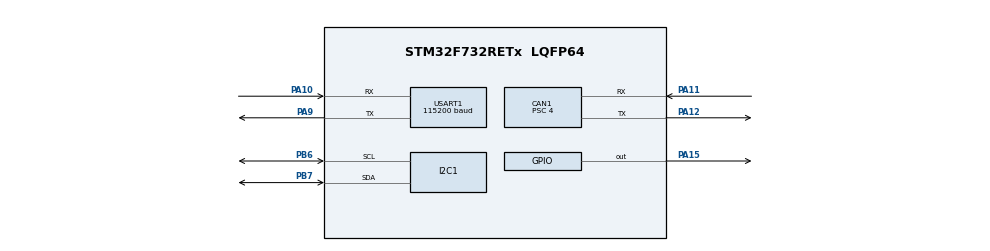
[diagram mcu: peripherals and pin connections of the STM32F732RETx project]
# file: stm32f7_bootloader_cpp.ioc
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CAN1.BS1=CAN_BS1_6TQ
CAN1.CalculateTimeBit=3000
CAN1.CalculateTimeQuantum=250.0
CAN1.Prescaler=4
CAN1.TimeSeg1=CAN_BS1_6TQ
Mcu.Family=STM32F7
Mcu.Name=STM32F732RETx
Mcu.Package=LQFP64
NVIC.CAN1_RX0_IRQn=true\:0\:0\:true\:false\:true\:true
NVIC.CAN1_RX1_IRQn=true\:0\:0\:false\:false\:true\:true
NVIC.CAN1_SCE_IRQn=true\:0\:0\:false\:false\:true\:true
NVIC.CAN1_TX_IRQn=true\:0\:0\:false\:false\:true\:true
NVIC.PriorityGroup=NVIC_PRIORITYGROUP_1
NVIC.USART1_IRQn=true\:0\:0\:true\:false\:true\:true
PA10.Mode=Asynchronous
PA10.Signal=USART1_RX
PA11.Mode=Master
PA11.Signal=CAN1_RX
PA12.Mode=Master
PA12.Signal=CAN1_TX
PA13.Mode=Serial_Wire
PA13.Signal=SYS_JTMS-SWDIO
PA14.Mode=Serial_Wire
PA14.Signal=SYS_JTCK-SWCLK
PA15.Signal=GPIO_Output
PA9.Mode=Asynchronous
PA9.Signal=USART1_TX
PB6.Mode=I2C
PB6.Signal=I2C1_SCL
PB7.Mode=I2C
PB7.Signal=I2C1_SDA
ProjectManager.HeapSize=0x200
ProjectManager.StackSize=0x400
ProjectManager.TargetToolchain=TrueSTUDIO
RCC.HSE_VALUE=25000000
RCC.HSI_VALUE=16000000
RCC.LSE_VALUE=32768
RCC.USBFreq_Value=96000000
RCC.VCOOutputFreq_Value=192000000
USART1.BaudRate=115200
USART1.OneBitSampling=UART_ONE_BIT_SAMPLE_ENABLE
USART1.SwapParam=ADVFEATURE_SWAP_ENABLE
USART1.VirtualMode-Asynchronous=VM_ASYNC
USART1.WordLength=WORDLENGTH_8B
board=stm32f7_bootloader_cpp

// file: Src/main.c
/**
  ******************************************************************************
  * @file           : main.c
  * @brief          : Main program body
  ******************************************************************************
  ** This notice applies to any and all portions of this file
  * that are not between comment pairs USER CODE BEGIN and
  * USER CODE END. Other portions of this file, whether
  * inserted by the user or by software development tools
  * are owned by their respective copyright owners.
  *
  * COPYRIGHT(c) 2018 STMicroelectronics
  *
  * Redistribution and use in source and binary forms, with or without modification,
  * are permitted provided that the following conditions are met:
  *   1. Redistributions of source code must retain the above copyright notice,
  *      this list of conditions and the following disclaimer.
  *   2. Redistributions in binary form must reproduce the above copyright notice,
  *      this list of conditions and the following disclaimer in the documentation
  *      and/or other materials provided with the distribution.
  *   3. Neither the name of STMicroelectronics nor the names of its contributors
  *      may be used to endorse or promote products derived from this software
  *      without specific prior written permission.
  *
  * THIS SOFTWARE IS PROVIDED BY THE COPYRIGHT HOLDERS AND CONTRIBUTORS "AS IS"
  * AND ANY EXPRESS OR IMPLIED WARRANTIES, INCLUDING, BUT NOT LIMITED TO, THE
  * IMPLIED WARRANTIES OF MERCHANTABILITY AND FITNESS FOR A PARTICULAR PURPOSE ARE
  * DISCLAIMED. IN NO EVENT SHALL THE COPYRIGHT HOLDER OR CONTRIBUTORS BE LIABLE
  * FOR ANY DIRECT, INDIRECT, INCIDENTAL, SPECIAL, EXEMPLARY, OR CONSEQUENTIAL
  * DAMAGES (INCLUDING, BUT NOT LIMITED TO, PROCUREMENT OF SUBSTITUTE GOODS OR
  * SERVICES; LOSS OF USE, DATA, OR PROFITS; OR BUSINESS INTERRUPTION) HOWEVER
  * CAUSED AND ON ANY THEORY OF LIABILITY, WHETHER IN CONTRACT, STRICT LIABILITY,
  * OR TORT (INCLUDING NEGLIGENCE OR OTHERWISE) ARISING IN ANY WAY OUT OF THE USE
  * OF THIS SOFTWARE, EVEN IF ADVISED OF THE POSSIBILITY OF SUCH DAMAGE.
  *
  ******************************************************************************
  */
#include "main.h"
#include "stm32f7xx_hal.h"
#include "can.h"
#include "i2c.h"
#include "usart.h"
#include "gpio.h"

/* USER CODE BEGIN PV */
/* Private variables ---------------------------------------------------------*/
int FWToolconnected = 0;

/* USER CODE END PV */

typedef void (*pFunction)(void);
void SystemClock_Config(void);

/* USER CODE BEGIN PFP */
/* Private function prototypes -----------------------------------------------*/

/* USER CODE END PFP */

int main(void)
{

  /* MCU Configuration----------------------------------------------------------*/

  /* Reset of all peripherals, Initializes the Flash interface and the Systick. */
  HAL_Init();

  /* Configure the system clock */
  SystemClock_Config();

  /* Initialize all configured peripherals */
  MX_GPIO_Init();
  MX_CAN1_Init();
  MX_I2C1_Init();
  MX_USART1_UART_Init();
  /* USER CODE BEGIN 2 */

  CAN_TxHeaderTypeDef pTxHeader; //outgoing msg header
	  pTxHeader.DLC = 8;
	  pTxHeader.ExtId = 0;
	  pTxHeader.IDE = CAN_ID_STD;
	  pTxHeader.RTR = CAN_RTR_DATA;
	  pTxHeader.StdId = 123;
	  pTxHeader.TransmitGlobalTime = DISABLE;
  uint32_t pTxMailbox;

  CAN_FilterTypeDef canFilter; // PEAB olema enablitud et RX töötaks!
  	  canFilter.FilterIdHigh = 0x0000;
	  canFilter.FilterIdLow = 0x0000;
	  canFilter.FilterMaskIdHigh = 0x0000;
	  canFilter.FilterMaskIdLow = 0x0000;
  	  canFilter.FilterFIFOAssignment = CAN_RX_FIFO0;
  	  canFilter.FilterActivation = ENABLE;
  	  canFilter.FilterBank = 13;
  	  canFilter.FilterMode = CAN_FILTERMODE_IDMASK;
  	  canFilter.FilterScale = CAN_FILTERSCALE_32BIT;
  HAL_CAN_ConfigFilter(&hcan1, &canFilter);

  HAL_CAN_Start(&hcan1);
  HAL_CAN_ActivateNotification(&hcan1, CAN_IT_RX_FIFO0_MSG_PENDING);
  HAL_CAN_ActivateNotification(&hcan1, CAN_IT_ERROR );
  HAL_CAN_ActivateNotification(&hcan1, CAN_IT_RX_FIFO0_FULL);

  Serial_PutString("Init all done!\n");
  HAL_Delay(100);

  /* USER CODE END 2 */

  /* Infinite loop */
  /* USER CODE BEGIN WHILE */
  int counter = 1;
  while (1)
  {

  /* USER CODE END WHILE */

  /* USER CODE BEGIN 3 */
	  HAL_GPIO_TogglePin(GPIOA, GPIO_PIN_15);

	  uint8_t aData[] = {1,2,3,4,5,6,7,8};

	  if(HAL_CAN_AddTxMessage(&hcan1, &pTxHeader, aData, &pTxMailbox)==HAL_OK) Serial_PutString("hal saadetud  ok\n");

	  //if((FWToolconnected==0) & (counter == 5)) startApp();
//	  uint8_t inData[8];
//	  if(HAL_CAN_GetRxFifoFillLevel(&hcan1, CAN_RX_FIFO0)>0){
//		  HAL_CAN_GetRxMessage(&hcan1, CAN_RX_FIFO0, &pRxHeader, inData);
//		  Serial_PutInt(inData);
//		  HAL_GPIO_WritePin(GPIOA, GPIO_PIN_15, GPIO_PIN_SET);
//	  }
//	  if(HAL_CAN_GetRxFifoFillLevel(&hcan1, CAN_RX_FIFO1)>0){
//	 		  HAL_CAN_GetRxMessage(&hcan1, CAN_RX_FIFO1, &pRxHeader, inData);
//	 		  Serial_PutInt(inData);
//	 		  HAL_GPIO_WritePin(GPIOA, GPIO_PIN_15, GPIO_PIN_SET);
//	 	  }
	  HAL_Delay(500);
	  counter++;

  }
  /* USER CODE END 3 */

}

void SystemClock_Config(void)
{

  RCC_OscInitTypeDef RCC_OscInitStruct;
  RCC_ClkInitTypeDef RCC_ClkInitStruct;
  RCC_PeriphCLKInitTypeDef PeriphClkInitStruct;

    /**Configure the main internal regulator output voltage
    */
  __HAL_RCC_PWR_CLK_ENABLE();

  __HAL_PWR_VOLTAGESCALING_CONFIG(PWR_REGULATOR_VOLTAGE_SCALE3);

    /**Initializes the CPU, AHB and APB busses clocks
    */
  RCC_OscInitStruct.OscillatorType = RCC_OSCILLATORTYPE_HSI;
  RCC_OscInitStruct.HSIState = RCC_HSI_ON;
  RCC_OscInitStruct.HSICalibrationValue = 16;
  RCC_OscInitStruct.PLL.PLLState = RCC_PLL_NONE;
  if (HAL_RCC_OscConfig(&RCC_OscInitStruct) != HAL_OK)
  {
    _Error_Handler(__FILE__, __LINE__);
  }

    /**Initializes the CPU, AHB and APB busses clocks
    */
  RCC_ClkInitStruct.ClockType = RCC_CLOCKTYPE_HCLK|RCC_CLOCKTYPE_SYSCLK
                              |RCC_CLOCKTYPE_PCLK1|RCC_CLOCKTYPE_PCLK2;
  RCC_ClkInitStruct.SYSCLKSource = RCC_SYSCLKSOURCE_HSI;
  RCC_ClkInitStruct.AHBCLKDivider = RCC_SYSCLK_DIV1;
  RCC_ClkInitStruct.APB1CLKDivider = RCC_HCLK_DIV1;
  RCC_ClkInitStruct.APB2CLKDivider = RCC_HCLK_DIV1;

  if (HAL_RCC_ClockConfig(&RCC_ClkInitStruct, FLASH_LATENCY_0) != HAL_OK)
  {
    _Error_Handler(__FILE__, __LINE__);
  }

  PeriphClkInitStruct.PeriphClockSelection = RCC_PERIPHCLK_USART1|RCC_PERIPHCLK_I2C1;
  PeriphClkInitStruct.Usart1ClockSelection = RCC_USART1CLKSOURCE_PCLK2;
  PeriphClkInitStruct.I2c1ClockSelection = RCC_I2C1CLKSOURCE_PCLK1;
  if (HAL_RCCEx_PeriphCLKConfig(&PeriphClkInitStruct) != HAL_OK)
  {
    _Error_Handler(__FILE__, __LINE__);
  }

    /**Configure the Systick interrupt time
    */
  HAL_SYSTICK_Config(HAL_RCC_GetHCLKFreq()/1000);

    /**Configure the Systick
    */
  HAL_SYSTICK_CLKSourceConfig(SYSTICK_CLKSOURCE_HCLK);

  /* SysTick_IRQn interrupt configuration */
  HAL_NVIC_SetPriority(SysTick_IRQn, 0, 0);
}

/* USER CODE BEGIN 4 */
 void startApp(){
	 Serial_PutString("Start program execution......\r\n\n");

	 pFunction appEntry;
	       	uint32_t appStack;

	         /* Get the application stack pointer (First entry in the application vector table) */
	       	appStack = (uint32_t) *((__IO uint32_t*)APPLICATION_ADDRESS);

	       	/* Get the application entry point (Second entry in the application vector table) */
	       	appEntry = (pFunction) *(__IO uint32_t*) (APPLICATION_ADDRESS + 4);

	       	/* Reconfigure vector table offset register to match the application location */
	       	SCB->VTOR = APPLICATION_ADDRESS;

	       	/* Set the application stack pointer */
	       	__set_MSP(appStack);

	       	/* Start the application */
	       	appEntry();
 }
/* USER CODE END 4 */

void _Error_Handler(char *file, int line)
{
  while(1)
  {
  }
}

/************************ (C) COPYRIGHT STMicroelectronics *****END OF FILE****/
